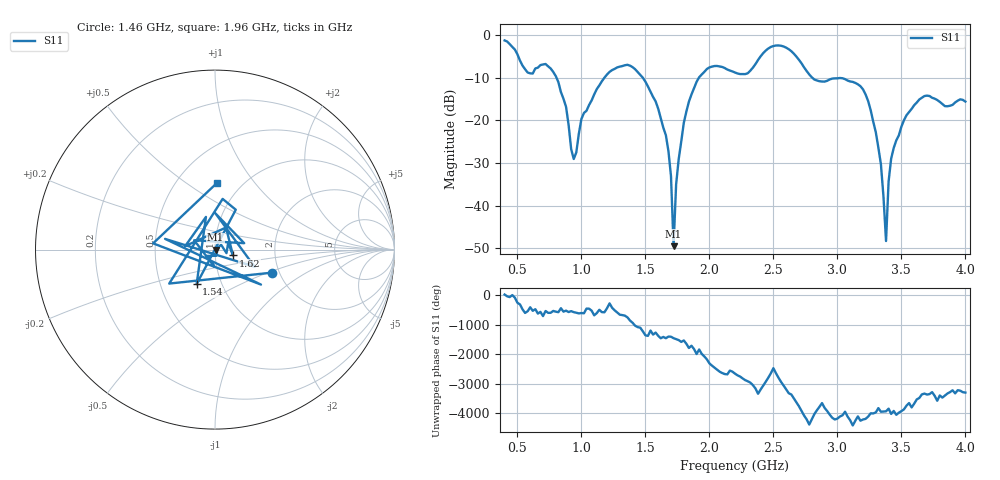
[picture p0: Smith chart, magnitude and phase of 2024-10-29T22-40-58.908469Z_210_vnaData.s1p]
!Created with skrf (http://scikit-rf.org).
# Hz S RI R 50.0
!freq ReS11 ImS11
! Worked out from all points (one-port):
!   181 points, 400 MHz to 4 GHz, reference 50 ohm
!   lowest |S11| = -49.6 dB at 1.72 GHz (marker M1), VSWR 1.01, Z = 50.3 - j0.0902 ohm
!   |S11| at or under -10 dB: 805.9 MHz to 1.179 GHz (372.8 MHz wide, 37.6 % of centre); 1.481 GHz to 1.917 GHz (436.2 MHz wide, 25.7 % of centre); 2.806 GHz to end of sweep
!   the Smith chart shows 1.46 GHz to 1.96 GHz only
!   S11 on the Smith chart (normalised r, x): 1.46 GHz: 1.83, -0.53; 1.54 GHz: 0.76, -0.31; 1.62 GHz: 1.22, -0.08; 1.96 GHz: 0.77, +0.67
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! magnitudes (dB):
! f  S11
! 400 MHz  -1.2
! 580 MHz  -8.7
! 760 MHz  -7.8
! 860 MHz  -14.9
! 940 MHz  -29.1
! 1.02 GHz  -18.2
! 1.3 GHz  -7.3
! 1.46 GHz  -9.3
! 1.54 GHz  -13.2
! 1.62 GHz  -19.5
! 1.7 GHz  -33.1
! 1.72 GHz  -49.6
! 1.74 GHz  -35.0
! 1.76 GHz  -29.1
! 1.84 GHz  -15.6
! 1.96 GHz  -8.6
! 2.2 GHz  -8.7
! 2.66 GHz  -4.3
! 2.82 GHz  -10.4
! 3.1 GHz  -10.8
! 3.22 GHz  -13.9
! 3.3 GHz  -22.8
! 3.34 GHz  -30.3
! 3.38 GHz  -48.3
! 3.4 GHz  -34.4
! 3.42 GHz  -29.0
! 3.56 GHz  -18.0
! 4 GHz  -15.6
